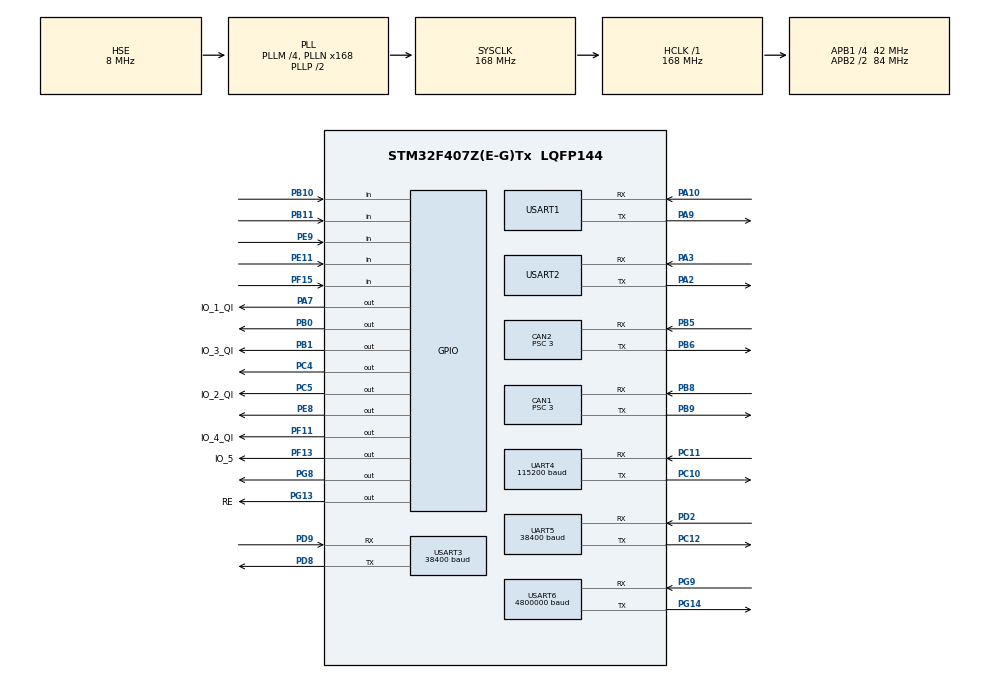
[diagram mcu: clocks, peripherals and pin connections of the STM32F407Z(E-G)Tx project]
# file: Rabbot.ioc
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CAN1.BS1=CAN_BS1_6TQ
CAN1.BS2=CAN_BS2_7TQ
CAN1.CalculateBaudRate=1000000
CAN1.CalculateTimeBit=1000
CAN1.CalculateTimeQuantum=71.42857142857143
CAN1.Mode=CAN_MODE_NORMAL
CAN1.Prescaler=3
CAN2.BS1=CAN_BS1_6TQ
CAN2.BS2=CAN_BS2_7TQ
CAN2.CalculateBaudRate=1000000
CAN2.CalculateTimeBit=1000
CAN2.CalculateTimeQuantum=71.42857142857143
CAN2.Prescaler=3
Dma.Request0=USART2_RX
Dma.Request1=USART2_TX
Dma.Request10=UART4_TX
Dma.Request11=UART5_TX
Dma.Request2=USART1_RX
Dma.Request3=USART1_TX
Dma.Request4=UART4_RX
Dma.Request5=USART3_RX
Dma.Request6=USART6_RX
Dma.Request7=UART5_RX
Dma.Request8=USART6_TX
Dma.Request9=USART3_TX
Dma.UART4_RX.4.Direction=DMA_PERIPH_TO_MEMORY
Dma.UART4_RX.4.FIFOMode=DMA_FIFOMODE_DISABLE
Dma.UART4_RX.4.Instance=DMA1_Stream2
Dma.UART4_RX.4.MemDataAlignment=DMA_MDATAALIGN_BYTE
Dma.UART4_RX.4.MemInc=DMA_MINC_ENABLE
Dma.UART4_RX.4.Mode=DMA_NORMAL
Dma.UART4_RX.4.PeriphDataAlignment=DMA_PDATAALIGN_BYTE
Dma.UART4_RX.4.PeriphInc=DMA_PINC_DISABLE
Dma.UART4_RX.4.Priority=DMA_PRIORITY_LOW
Dma.UART4_TX.10.Direction=DMA_MEMORY_TO_PERIPH
Dma.UART4_TX.10.FIFOMode=DMA_FIFOMODE_DISABLE
Dma.UART4_TX.10.Instance=DMA1_Stream4
Dma.UART4_TX.10.MemDataAlignment=DMA_MDATAALIGN_BYTE
Dma.UART4_TX.10.MemInc=DMA_MINC_ENABLE
Dma.UART4_TX.10.Mode=DMA_NORMAL
Dma.UART4_TX.10.PeriphDataAlignment=DMA_PDATAALIGN_BYTE
Dma.UART4_TX.10.PeriphInc=DMA_PINC_DISABLE
Dma.UART4_TX.10.Priority=DMA_PRIORITY_LOW
Dma.UART5_RX.7.Direction=DMA_PERIPH_TO_MEMORY
Dma.UART5_RX.7.FIFOMode=DMA_FIFOMODE_DISABLE
Dma.UART5_RX.7.Instance=DMA1_Stream0
Dma.UART5_RX.7.MemDataAlignment=DMA_MDATAALIGN_BYTE
Dma.UART5_RX.7.MemInc=DMA_MINC_ENABLE
Dma.UART5_RX.7.Mode=DMA_NORMAL
Dma.UART5_RX.7.PeriphDataAlignment=DMA_PDATAALIGN_BYTE
Dma.UART5_RX.7.PeriphInc=DMA_PINC_DISABLE
Dma.UART5_RX.7.Priority=DMA_PRIORITY_LOW
Dma.UART5_TX.11.Direction=DMA_MEMORY_TO_PERIPH
Dma.UART5_TX.11.FIFOMode=DMA_FIFOMODE_DISABLE
Dma.UART5_TX.11.Instance=DMA1_Stream7
Dma.UART5_TX.11.MemDataAlignment=DMA_MDATAALIGN_BYTE
Dma.UART5_TX.11.MemInc=DMA_MINC_ENABLE
Dma.UART5_TX.11.Mode=DMA_NORMAL
Dma.UART5_TX.11.PeriphDataAlignment=DMA_PDATAALIGN_BYTE
Dma.UART5_TX.11.PeriphInc=DMA_PINC_DISABLE
Dma.UART5_TX.11.Priority=DMA_PRIORITY_LOW
Dma.USART1_RX.2.Direction=DMA_PERIPH_TO_MEMORY
Dma.USART1_RX.2.FIFOMode=DMA_FIFOMODE_DISABLE
Dma.USART1_RX.2.Instance=DMA2_Stream2
Dma.USART1_RX.2.MemDataAlignment=DMA_MDATAALIGN_BYTE
Dma.USART1_RX.2.MemInc=DMA_MINC_ENABLE
Dma.USART1_RX.2.Mode=DMA_NORMAL
Dma.USART1_RX.2.PeriphDataAlignment=DMA_PDATAALIGN_BYTE
Dma.USART1_RX.2.PeriphInc=DMA_PINC_DISABLE
Dma.USART1_RX.2.Priority=DMA_PRIORITY_LOW
Dma.USART1_TX.3.Direction=DMA_MEMORY_TO_PERIPH
Dma.USART1_TX.3.FIFOMode=DMA_FIFOMODE_DISABLE
Dma.USART1_TX.3.Instance=DMA2_Stream7
Dma.USART1_TX.3.MemDataAlignment=DMA_MDATAALIGN_BYTE
Dma.USART1_TX.3.MemInc=DMA_MINC_ENABLE
Dma.USART1_TX.3.Mode=DMA_NORMAL
Dma.USART1_TX.3.PeriphDataAlignment=DMA_PDATAALIGN_BYTE
Dma.USART1_TX.3.PeriphInc=DMA_PINC_DISABLE
Dma.USART1_TX.3.Priority=DMA_PRIORITY_LOW
Dma.USART2_RX.0.Direction=DMA_PERIPH_TO_MEMORY
Dma.USART2_RX.0.FIFOMode=DMA_FIFOMODE_DISABLE
Dma.USART2_RX.0.Instance=DMA1_Stream5
Dma.USART2_RX.0.MemDataAlignment=DMA_MDATAALIGN_BYTE
Dma.USART2_RX.0.MemInc=DMA_MINC_ENABLE
Dma.USART2_RX.0.Mode=DMA_NORMAL
Dma.USART2_RX.0.PeriphDataAlignment=DMA_PDATAALIGN_BYTE
Dma.USART2_RX.0.PeriphInc=DMA_PINC_DISABLE
Dma.USART2_RX.0.Priority=DMA_PRIORITY_LOW
Dma.USART2_TX.1.Direction=DMA_MEMORY_TO_PERIPH
Dma.USART2_TX.1.FIFOMode=DMA_FIFOMODE_DISABLE
Dma.USART2_TX.1.Instance=DMA1_Stream6
Dma.USART2_TX.1.MemDataAlignment=DMA_MDATAALIGN_BYTE
Dma.USART2_TX.1.MemInc=DMA_MINC_ENABLE
Dma.USART2_TX.1.Mode=DMA_NORMAL
Dma.USART2_TX.1.PeriphDataAlignment=DMA_PDATAALIGN_BYTE
Dma.USART2_TX.1.PeriphInc=DMA_PINC_DISABLE
Dma.USART2_TX.1.Priority=DMA_PRIORITY_LOW
Dma.USART3_RX.5.Direction=DMA_PERIPH_TO_MEMORY
Dma.USART3_RX.5.FIFOMode=DMA_FIFOMODE_DISABLE
Dma.USART3_RX.5.Instance=DMA1_Stream1
Dma.USART3_RX.5.MemDataAlignment=DMA_MDATAALIGN_BYTE
Dma.USART3_RX.5.MemInc=DMA_MINC_ENABLE
Dma.USART3_RX.5.Mode=DMA_NORMAL
Dma.USART3_RX.5.PeriphDataAlignment=DMA_PDATAALIGN_BYTE
Dma.USART3_RX.5.PeriphInc=DMA_PINC_DISABLE
Dma.USART3_RX.5.Priority=DMA_PRIORITY_LOW
Dma.USART3_TX.9.Direction=DMA_MEMORY_TO_PERIPH
Dma.USART3_TX.9.FIFOMode=DMA_FIFOMODE_DISABLE
Dma.USART3_TX.9.Instance=DMA1_Stream3
Dma.USART3_TX.9.MemDataAlignment=DMA_MDATAALIGN_BYTE
Dma.USART3_TX.9.MemInc=DMA_MINC_ENABLE
Dma.USART3_TX.9.Mode=DMA_NORMAL
Dma.USART3_TX.9.PeriphDataAlignment=DMA_PDATAALIGN_BYTE
Dma.USART3_TX.9.PeriphInc=DMA_PINC_DISABLE
Dma.USART3_TX.9.Priority=DMA_PRIORITY_LOW
Dma.USART6_RX.6.Direction=DMA_PERIPH_TO_MEMORY
Dma.USART6_RX.6.FIFOMode=DMA_FIFOMODE_DISABLE
Dma.USART6_RX.6.Instance=DMA2_Stream1
Dma.USART6_RX.6.MemDataAlignment=DMA_MDATAALIGN_BYTE
Dma.USART6_RX.6.MemInc=DMA_MINC_ENABLE
Dma.USART6_RX.6.Mode=DMA_NORMAL
Dma.USART6_RX.6.PeriphDataAlignment=DMA_PDATAALIGN_BYTE
Dma.USART6_RX.6.PeriphInc=DMA_PINC_DISABLE
Dma.USART6_RX.6.Priority=DMA_PRIORITY_LOW
Dma.USART6_TX.8.Direction=DMA_MEMORY_TO_PERIPH
Dma.USART6_TX.8.FIFOMode=DMA_FIFOMODE_DISABLE
Dma.USART6_TX.8.Instance=DMA2_Stream6
Dma.USART6_TX.8.MemDataAlignment=DMA_MDATAALIGN_BYTE
Dma.USART6_TX.8.MemInc=DMA_MINC_ENABLE
Dma.USART6_TX.8.Mode=DMA_NORMAL
Dma.USART6_TX.8.PeriphDataAlignment=DMA_PDATAALIGN_BYTE
Dma.USART6_TX.8.PeriphInc=DMA_PINC_DISABLE
Dma.USART6_TX.8.Priority=DMA_PRIORITY_LOW
FREERTOS.BinarySemaphores01=myBinarySem01,Dynamic,NULL
FREERTOS.Tasks01=defaultTask,-3,256,StartDefaultTask,Default,NULL,Dynamic,NULL,NULL;wait_state,-3,256,Wait_State,Default,NULL,Dynamic,NULL,NULL;motion_state,-3,256,Motion_State,Default,NULL,Dynamic,NULL,NULL;zero_state,2,256,Zero_State,Default,NULL,Dynamic,NULL,NULL;motor_control,-3,256,Motor_Control,Default,NULL,Dynamic,NULL,NULL
FREERTOS.configUSE_COUNTING_SEMAPHORES=0
Mcu.Family=STM32F4
Mcu.Name=STM32F407Z(E-G)Tx
Mcu.Package=LQFP144
NVIC.CAN1_RX0_IRQn=true\:5\:0\:false\:false\:true\:true\:true\:true\:true
NVIC.CAN1_RX1_IRQn=true\:5\:0\:false\:false\:true\:true\:true\:true\:true
NVIC.CAN2_RX0_IRQn=true\:5\:0\:false\:false\:true\:true\:true\:true\:true
NVIC.CAN2_RX1_IRQn=true\:5\:0\:false\:false\:true\:true\:true\:true\:true
NVIC.DMA1_Stream0_IRQn=true\:5\:0\:false\:false\:true\:true\:false\:true\:true
NVIC.DMA1_Stream1_IRQn=true\:5\:0\:false\:false\:true\:true\:false\:true\:true
NVIC.DMA1_Stream2_IRQn=true\:5\:0\:false\:false\:true\:true\:false\:true\:true
NVIC.DMA1_Stream3_IRQn=true\:5\:0\:false\:false\:true\:true\:false\:true\:true
NVIC.DMA1_Stream4_IRQn=true\:5\:0\:false\:false\:true\:true\:false\:true\:true
NVIC.DMA1_Stream5_IRQn=true\:5\:0\:false\:false\:true\:true\:false\:true\:true
NVIC.DMA1_Stream6_IRQn=true\:5\:0\:false\:false\:true\:true\:false\:true\:true
NVIC.DMA1_Stream7_IRQn=true\:5\:0\:false\:false\:true\:true\:false\:true\:true
NVIC.DMA2_Stream1_IRQn=true\:5\:0\:false\:false\:true\:true\:false\:true\:true
NVIC.DMA2_Stream2_IRQn=true\:5\:0\:false\:false\:true\:true\:false\:true\:true
NVIC.DMA2_Stream6_IRQn=true\:5\:0\:false\:false\:true\:true\:false\:true\:true
NVIC.DMA2_Stream7_IRQn=true\:5\:0\:false\:false\:true\:true\:false\:true\:true
NVIC.PriorityGroup=NVIC_PRIORITYGROUP_4
NVIC.TIM2_IRQn=true\:5\:0\:false\:false\:true\:true\:true\:true\:true
NVIC.TIM3_IRQn=true\:15\:0\:false\:false\:true\:false\:false\:true\:true
NVIC.TIM4_IRQn=true\:5\:0\:false\:false\:true\:true\:true\:true\:true
NVIC.TimeBase=TIM3_IRQn
NVIC.TimeBaseIP=TIM3
NVIC.UART4_IRQn=true\:5\:0\:false\:false\:true\:true\:true\:true\:true
NVIC.UART5_IRQn=true\:5\:0\:false\:false\:true\:true\:true\:true\:true
NVIC.USART1_IRQn=true\:5\:0\:false\:false\:true\:true\:true\:true\:true
NVIC.USART2_IRQn=true\:5\:0\:false\:false\:true\:true\:true\:true\:true
NVIC.USART3_IRQn=true\:5\:0\:false\:false\:true\:true\:true\:true\:true
NVIC.USART6_IRQn=true\:5\:0\:false\:false\:true\:true\:true\:true\:true
PA10.Mode=Asynchronous
PA10.Signal=USART1_RX
PA13.Mode=Serial_Wire
PA13.Signal=SYS_JTMS-SWDIO
PA14.Mode=Serial_Wire
PA14.Signal=SYS_JTCK-SWCLK
PA2.Mode=Asynchronous
PA2.Signal=USART2_TX
PA3.Mode=Asynchronous
PA3.Signal=USART2_RX
PA7.GPIO_Label=IO_1_QI
PA7.GPIO_PuPd=GPIO_PULLUP
PA7.GPIO_Speed=GPIO_SPEED_FREQ_LOW
PA7.Signal=GPIO_Output
PA9.Mode=Asynchronous
PA9.Signal=USART1_TX
PB0.GPIO_PuPd=GPIO_PULLUP
PB0.GPIO_Speed=GPIO_SPEED_FREQ_VERY_HIGH
PB0.Signal=GPIO_Output
PB1.GPIO_Label=IO_3_QI
PB1.GPIO_PuPd=GPIO_PULLUP
PB1.Signal=GPIO_Output
PB10.GPIO_PuPd=GPIO_PULLUP
PB10.Signal=GPIO_Input
PB11.GPIO_PuPd=GPIO_PULLUP
PB11.Signal=GPIO_Input
PB5.Mode=CAN_Activate
PB5.Signal=CAN2_RX
PB6.Mode=CAN_Activate
PB6.Signal=CAN2_TX
PB8.Mode=CAN_Activate
PB8.Signal=CAN1_RX
PB9.Mode=CAN_Activate
PB9.Signal=CAN1_TX
PC10.Mode=Asynchronous
PC10.Signal=UART4_TX
PC11.Mode=Asynchronous
PC11.Signal=UART4_RX
PC12.Mode=Asynchronous
PC12.Signal=UART5_TX
PC4.GPIO_PuPd=GPIO_PULLUP
PC4.GPIO_Speed=GPIO_SPEED_FREQ_VERY_HIGH
PC4.Signal=GPIO_Output
PC5.GPIO_Label=IO_2_QI
PC5.GPIO_PuPd=GPIO_PULLUP
PC5.Signal=GPIO_Output
PD2.Mode=Asynchronous
PD2.Signal=UART5_RX
PD8.Mode=Asynchronous
PD8.Signal=USART3_TX
PD9.Mode=Asynchronous
PD9.Signal=USART3_RX
PE11.GPIO_PuPd=GPIO_PULLUP
PE11.Signal=GPIO_Input
PE8.GPIO_PuPd=GPIO_PULLUP
PE8.GPIO_Speed=GPIO_SPEED_FREQ_VERY_HIGH
PE8.Signal=GPIO_Output
PE9.GPIO_PuPd=GPIO_PULLUP
PE9.Signal=GPIO_Input
PF11.GPIO_Label=IO_4_QI
PF11.GPIO_PuPd=GPIO_PULLUP
PF11.Signal=GPIO_Output
PF13.GPIO_Label=IO_5
PF13.GPIO_PuPd=GPIO_PULLUP
PF13.Signal=GPIO_Output
PF15.GPIO_PuPd=GPIO_PULLUP
PF15.Signal=GPIO_Input
PG13.GPIO_Label=RE
PG13.Signal=GPIO_Output
PG14.Mode=Asynchronous
PG14.Signal=USART6_TX
PG8.GPIO_PuPd=GPIO_PULLUP
PG8.GPIO_Speed=GPIO_SPEED_FREQ_VERY_HIGH
PG8.Signal=GPIO_Output
PG9.Mode=Asynchronous
PG9.Signal=USART6_RX
PH0-OSC_IN.Mode=HSE-External-Oscillator
PH0-OSC_IN.Signal=RCC_OSC_IN
PH1-OSC_OUT.Mode=HSE-External-Oscillator
PH1-OSC_OUT.Signal=RCC_OSC_OUT
ProjectManager.HeapSize=0x200
ProjectManager.StackSize=0x400
ProjectManager.TargetToolchain=MDK-ARM V5.32
RCC.48MHZClocksFreq_Value=84000000
RCC.AHBFreq_Value=168000000
RCC.APB1CLKDivider=RCC_HCLK_DIV4
RCC.APB1Freq_Value=42000000
RCC.APB1TimFreq_Value=84000000
RCC.APB2CLKDivider=RCC_HCLK_DIV2
RCC.APB2Freq_Value=84000000
RCC.APB2TimFreq_Value=168000000
RCC.CortexFreq_Value=168000000
RCC.HCLKFreq_Value=168000000
RCC.HSE_VALUE=8000000
RCC.HSI_VALUE=16000000
RCC.LSE_VALUE=32768
RCC.PLLM=4
RCC.PLLN=168
RCC.PLLSourceVirtual=RCC_PLLSOURCE_HSE
RCC.SYSCLKFreq_VALUE=168000000
RCC.SYSCLKSource=RCC_SYSCLKSOURCE_PLLCLK
RCC.VCOOutputFreq_Value=336000000
TIM2.Period=2000-1
TIM2.Prescaler=84-1
TIM4.Period=1000-1
TIM4.Prescaler=84-1
UART4.BaudRate=115200
UART4.Parity=PARITY_NONE
UART4.VirtualMode=Asynchronous
UART4.WordLength=WORDLENGTH_8B
UART5.BaudRate=38400
UART5.VirtualMode=Asynchronous
USART1.VirtualMode=VM_ASYNC
USART2.VirtualMode=VM_ASYNC
USART3.BaudRate=38400
USART3.Parity=PARITY_NONE
USART3.VirtualMode=VM_ASYNC
USART3.WordLength=WORDLENGTH_8B
USART6.BaudRate=4800000
USART6.VirtualMode=VM_ASYNC
VP_FREERTOS_VS_CMSIS_V1.Mode=CMSIS_V1
VP_SYS_VS_tim3.Mode=TIM3
VP_TIM2_VS_ClockSourceINT.Mode=Internal
VP_TIM4_VS_ClockSourceINT.Mode=Internal
board=custom

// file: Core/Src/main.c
/* USER CODE BEGIN Header */
/**
  ******************************************************************************
  * @file           : main.c
  * @brief          : Main program body
  ******************************************************************************
  * @attention
  *
  * Copyright (c) 2023 STMicroelectronics.
  * All rights reserved.
  *
  * This software is licensed under terms that can be found in the LICENSE file
  * in the root directory of this software component.
  * If no LICENSE file comes with this software, it is provided AS-IS.
  *
  ******************************************************************************
  */
/* USER CODE END Header */
#include "main.h"
#include "cmsis_os.h"
#include "can.h"
#include "dma.h"
#include "tim.h"
#include "usart.h"
#include "gpio.h"

/* USER CODE BEGIN Includes */
#include "M3508.h"
#include "handkey.h"
#include "motion_control.h"
#include "A1_motor.h"
#include "my_uart.h"
#include "auto_route.h"
#include "yuntai.h"
#include "FreeRTOS.h"
#include "task.h"
/* USER CODE END Includes */

/* USER CODE BEGIN PD */
#define PI 3.1415926f
#define RADIN_TO_REG 57.296f
/* USER CODE END PD */

void SystemClock_Config(void);
void MX_FREERTOS_Init(void);
/* USER CODE BEGIN PFP */
extern M3508x_STA M3508[8];//创建结构体实例
extern M3508x_STA M3508_2[8];
float Rpm_set=0;
extern MOTOR_recv motor_recv[2];
A1_data a1_data[2];
int c_flag=3;

extern uint8_t Gyro_RX_Data[30];

extern Action_data Action_Data;
extern float speed_level;
extern float kx_av,ky_av;
extern float radar_x,radar_y;
extern float a1_pos[2];
extern float spped_set_a1;
extern int child_block;
/* USER CODE END PFP */

int main(void)
{
//8.13514 -0.1382 5 16400
//7.29757261 -0.351111144 6 16100
//6.65611 -0.1893 8 16500
//9.4684 -0.1758 2 15150
//5.37451675 -0.19946 10 15150
//0.075206	0.18194
  /* MCU Configuration--------------------------------------------------------*/

  /* Reset of all peripherals, Initializes the Flash interface and the Systick. */
  HAL_Init();

  /* Configure the system clock */
  SystemClock_Config();

  /* Initialize all configured peripherals */
  MX_GPIO_Init();
  MX_DMA_Init();
  MX_CAN1_Init();
  MX_CAN2_Init();
  MX_TIM2_Init();
  MX_USART1_UART_Init();
  MX_USART2_UART_Init();
  MX_UART4_Init();
  MX_USART3_UART_Init();
  MX_USART6_UART_Init();
  MX_UART5_Init();
  MX_TIM4_Init();
  /* USER CODE BEGIN 2 */
		//Usart5_Start();
    a1_init();         // a1电机参数初始化
    yuntai_init(); // 初始化云台pid
    Usart6_Start();    // 启动a1电机接收
    c_flag = 1;
    HAL_TIM_Base_Start_IT(&htim2);//0.5515
    HAL_Delay(20);//1397542
    HAL_TIM_Base_Start_IT(&htim4);
    HAL_Delay(20);
    Gyro_Receive_Start();
    Handkey_Receive_Start();
    MaPan_Receive_Start();
    Radar_Receive_Start();
		unsigned char cmd[5] = {0XA5, 0X5A, 0X04, 0X00, 0XFB};
    HAL_GPIO_WritePin(GPIOB,GPIO_PIN_1,GPIO_PIN_SET);
		HAL_GPIO_WritePin(GPIOC,GPIO_PIN_5,GPIO_PIN_SET);
    HAL_Delay(20);
		HAL_UART_Transmit_DMA(&huart3, cmd, 5);
    a1_set_mode(YAW_MOTOR_ID, 0);                        // 使能电机，0
    a1_set_mode(PITCH_MOTOR_ID, 0);

    HAL_Delay(10);
    Usart3_Start(); // 启动视觉接收

    Can1_Configure();
    Can2_Configure();
    HAL_Delay(100);
    keep_pid_init();
    PID_Path_Init();
    M3510_PID_MotorInit(M3508);
    M3510_PID_MotorInit(M3508_2);

    __HAL_UART_ENABLE_IT(&huart5,UART_IT_IDLE);

  /* USER CODE END 2 */

  /* Call init function for freertos objects (in freertos.c) */
  MX_FREERTOS_Init();

  /* Start scheduler */
  osKernelStart();
  /* We should never get here as control is now taken by the scheduler */
  /* Infinite loop */
    while (1)
    {

    }
}

void SystemClock_Config(void)
{
  RCC_OscInitTypeDef RCC_OscInitStruct = {0};
  RCC_ClkInitTypeDef RCC_ClkInitStruct = {0};

  /** Configure the main internal regulator output voltage
  */
  __HAL_RCC_PWR_CLK_ENABLE();
  __HAL_PWR_VOLTAGESCALING_CONFIG(PWR_REGULATOR_VOLTAGE_SCALE1);

  /** Initializes the RCC Oscillators according to the specified parameters
  * in the RCC_OscInitTypeDef structure.
  */
  RCC_OscInitStruct.OscillatorType = RCC_OSCILLATORTYPE_HSE;
  RCC_OscInitStruct.HSEState = RCC_HSE_ON;
  RCC_OscInitStruct.PLL.PLLState = RCC_PLL_ON;
  RCC_OscInitStruct.PLL.PLLSource = RCC_PLLSOURCE_HSE;
  RCC_OscInitStruct.PLL.PLLM = 4;
  RCC_OscInitStruct.PLL.PLLN = 168;
  RCC_OscInitStruct.PLL.PLLP = RCC_PLLP_DIV2;
  RCC_OscInitStruct.PLL.PLLQ = 4;
  if (HAL_RCC_OscConfig(&RCC_OscInitStruct) != HAL_OK)
  {
    Error_Handler();
  }

  /** Initializes the CPU, AHB and APB buses clocks
  */
  RCC_ClkInitStruct.ClockType = RCC_CLOCKTYPE_HCLK|RCC_CLOCKTYPE_SYSCLK
                              |RCC_CLOCKTYPE_PCLK1|RCC_CLOCKTYPE_PCLK2;
  RCC_ClkInitStruct.SYSCLKSource = RCC_SYSCLKSOURCE_PLLCLK;
  RCC_ClkInitStruct.AHBCLKDivider = RCC_SYSCLK_DIV1;
  RCC_ClkInitStruct.APB1CLKDivider = RCC_HCLK_DIV4;
  RCC_ClkInitStruct.APB2CLKDivider = RCC_HCLK_DIV2;

  if (HAL_RCC_ClockConfig(&RCC_ClkInitStruct, FLASH_LATENCY_5) != HAL_OK)
  {
    Error_Handler();
  }
}

void HAL_TIM_PeriodElapsedCallback(TIM_HandleTypeDef *htim)
{
  /* USER CODE BEGIN Callback 0 */
	uint32_t status_value;
	status_value = taskENTER_CRITICAL_FROM_ISR();
  /* USER CODE END Callback 0 */
  if (htim->Instance == TIM3) {
    HAL_IncTick();
  }
  /* USER CODE BEGIN Callback 1 */
    if (htim == &htim2) {

				m3508_motion_control(&M3508[0]);
				m3508_motion_control(&M3508[5]);

        CAN1_SetMotor_0_3(M3508);
        CAN1_SetMotor_4_7(M3508);
				if(!child_block){
        yuntai_control();
				}
				else
				{
//					a1_set_mode(0,0);
//					a1_set_mode(1,0);
				}
        __HAL_TIM_CLEAR_FLAG(&htim2, TIM_IT_UPDATE);
    }
    if (htim == &htim4) {
        if (c_flag == 1)
        {
            c_flag = 0;
            A1_Motor_Send_Data_yuntai(a1_data[1].w, a1_data[1].pos, a1_data[1].kp, a1_data[1].kw, a1_data[1].t, a1_data[1].id, a1_data[1].mode); // now+28.5
            a1_data[1].w_now = motor_recv[1].motor_recv_data.Mdata.W / 128.f / 9.0f;
            a1_data[1].angle = RADIN_TO_REG / 9.0f * motor_recv[1].motor_recv_data.Mdata.Pos * 2 * PI / 16384.0f;
        }
        else if (c_flag == 0)
        {
            c_flag = 1;
            A1_Motor_Send_Data_yuntai(a1_data[0].w, a1_data[0].pos, a1_data[0].kp, a1_data[0].kw, a1_data[0].t, a1_data[0].id, a1_data[0].mode); // now-8
            a1_data[0].w_now = motor_recv[0].motor_recv_data.Mdata.W / 128.f / 9.0f;
            a1_data[0].angle = RADIN_TO_REG / 9.0f * motor_recv[0].motor_recv_data.Mdata.Pos * 2 * PI / 16384.0f;
        }
//2ms发送一次，改 htim4.Init.Period = 2000-1;
        __HAL_TIM_CLEAR_FLAG(&htim4, TIM_IT_UPDATE);
    }
		taskEXIT_CRITICAL_FROM_ISR(status_value);
  /* USER CODE END Callback 1 */
}

void Error_Handler(void)
{
    __disable_irq();
    while (1)
    {
    }
}

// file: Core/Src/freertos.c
/* USER CODE BEGIN Header */
/**
  ******************************************************************************
  * File Name          : freertos.c
  * Description        : Code for freertos applications
  ******************************************************************************
  * @attention
  *
  * Copyright (c) 2023 STMicroelectronics.
  * All rights reserved.
  *
  * This software is licensed under terms that can be found in the LICENSE file
  * in the root directory of this software component.
  * If no LICENSE file comes with this software, it is provided AS-IS.
  *
  ******************************************************************************
  */
/* USER CODE END Header */

#include "FreeRTOS.h"
#include "task.h"
#include "main.h"
#include "cmsis_os.h"

/* USER CODE BEGIN Includes */
#include "M3508.h"
#include "motion_control.h"
#include "handkey.h"
#include "math.h"
#include "A1_motor.h"
#include "my_uart.h"
#include "auto_route.h"
#include "ANO_TC.h"
#include "yuntai.h"
//2023-04-12 01:06
/* USER CODE END Includes */

/* USER CODE BEGIN PTD */
//int m_state = 0;
#define PI 3.1415926f
#define RADIN_TO_REG 57.296f
#define AUTO_STATE 3
#define MANUAL_STATE 2
#define CHANGE_TO_RADIAN (0.01745329251994f)
int test = 0;//实战调试
int flag_test=0;//单电机调�?
float x_set,y_set,w_set,h0_set,h1_set;
float vw_0;
float vx_set,vy_set,vw_set;
float pos_set=0;
float speed_set=10;
int test_flag_pro=0;
float speed_set_w;
extern RC_Ctl_t CtrlData;
int (*hook)(int x, int y);
int GPIO_ID_STATE[4];
extern M3508x_STA M3508[8];
float RPM=0;
float pos_7[5]= {0};
float pos_5[5]= {0};
extern A1_data a1_data[2];
float spped_set_a1=5000;
int a1_flag=0;
int State_flag=0;
extern MOTOR_recv motor_recv[2];
int32_t test_pos = 0;
extern float Rpm_set;
float x,y,z;
extern int16_t handkey_direction[4];
extern float speed_level;
int motion_flag=0;
float c_x,c_y,c_w;
float data2send[5];
extern LUJING_STU Lujing_Status;
extern float data_yaw;
extern Action_data Action_Data;
extern float mis_error;
extern PID_Struct Cir_AdjustPID;
extern coordinate_Struct World_Coordinate_system_TargetVel;
extern int reset_flag;
int shoot_manual=0;
float a1_pos[2];
int wtf=0;
float yuntai_x=0;

float yuntai_y=0;

extern LUJING_STU Lujing_Status;
int jiahuan_state=1;
int tuihuan_state=0;
int yahuan_state=1;
extern PID_Struct keep_x;
extern PID_Struct keep_y;
extern PID_Struct keep_w;
/*-----------��̨����-----------*/
uint8_t flag_yuntai = 0;

float end_pos_1,end_pos_2 = 0;
uint8_t send_flag = 0;
uint8_t vision_send_data = 0; // -2 -1 0 1 2

float vx_last,vy_last;
float vx_pre,vy_pre;
float speed_up_rate=20.f;
float speed_down_rate=20.f;
float radar_flag=0;
extern float radar_start_x,radar_start_y;
extern float radar_last_x,radar_last_y;
extern float mapan_start_x,mapan_start_y;
extern float kx,ky;
extern float radar_sum,kx_av,ky_av;
extern float radar_x,radar_y;
extern float vx_0,vy_0;
extern VisionData vision_data;
int GPIO_state;
int fangxiang;
extern PID_TypeDef Keep_X_PID;     // ����x����λ��
extern PID_TypeDef Keep_Y_PID;     // ����y����λ��
extern PID_TypeDef Keep_W_PID;     // ���ֽǶ�

float x_break_test = 10.0f;
float angle_break_test = 0.5f;
int shoot_flag=0;
static void motion_3(void);
static void motion_2(void);
static void motion_1(void);
static void motion_4(void);
static void motion_5(void);
static void motion_6(void);
float a1_pos_set[2];
uint8_t Screen[32];
int chuan_i;
int cd_change=0;
extern int page;
int weidong_setx,weidong_sety;
extern float Angle_Z_last;
int out_flag;
float init_pos;
float init_pos_p;
int path_flag;
int huan_list;
int child_block=0;
int shoot_pre_cp=0;
int motion_reset=0;
int motion_set=0;
/* USER CODE END PTD */

/* USER CODE BEGIN PD */
/* 注册消息 */
enum {
    OPER_TYPE_ADD = 0,   /*  */
    OPER_TYPE_MINUS,     /*  */
    OPER_TYPE_MULTI,     /*  */
    OPER_TYPE_DEV,	     /*  */
    OPER_TYPE_MAX
};

typedef struct handle_cb {
    int type;
    int (*handle)(int a, int b);   // HOOK_Task
} HANDLE_CB;
union
{
    uint8_t abcd[28];
    float zhuan2u8[7];
} Screen_Send;
/*
注册钩子，这里显式地把消息类型和钩子函数对应关系体现出来了，
handle_cb里面的type可以不要的，注意维护好注册消息表�?
每个枚举值先后顺序和下面钩子函数表中的先后顺序一致，能对应上
就行�?
*/
HANDLE_CB g_handle [] = {
//	{ OPER_TYPE_ADD, add },
//	{ OPER_TYPE_MINUS, minus },
//	{ OPER_TYPE_MULTI, multi },
    { OPER_TYPE_DEV, NULL}
};
/* USER CODE END PD */

osThreadId defaultTaskHandle;
osThreadId wait_stateHandle;
osThreadId motion_stateHandle;
osThreadId zero_stateHandle;
osThreadId motor_controlHandle;
osSemaphoreId myBinarySem01Handle;

/* USER CODE BEGIN FunctionPrototypes */
extern M3508x_STA M3508[8];
/* USER CODE END FunctionPrototypes */

void StartDefaultTask(void const * argument);
void Wait_State(void const * argument);
void Motion_State(void const * argument);
void Zero_State(void const * argument);
void Motor_Control(void const * argument);

void MX_FREERTOS_Init(void); /* (MISRA C 2004 rule 8.1) */

/* GetIdleTaskMemory prototype (linked to static allocation support) */
void vApplicationGetIdleTaskMemory( StaticTask_t **ppxIdleTaskTCBBuffer, StackType_t **ppxIdleTaskStackBuffer, uint32_t *pulIdleTaskStackSize );

/* USER CODE BEGIN GET_IDLE_TASK_MEMORY */
static StaticTask_t xIdleTaskTCBBuffer;
static StackType_t xIdleStack[configMINIMAL_STACK_SIZE];

void vApplicationGetIdleTaskMemory( StaticTask_t **ppxIdleTaskTCBBuffer, StackType_t **ppxIdleTaskStackBuffer, uint32_t *pulIdleTaskStackSize )
{
    *ppxIdleTaskTCBBuffer = &xIdleTaskTCBBuffer;
    *ppxIdleTaskStackBuffer = &xIdleStack[0];
    *pulIdleTaskStackSize = configMINIMAL_STACK_SIZE;
    /* place for user code */
}
/* USER CODE END GET_IDLE_TASK_MEMORY */

void MX_FREERTOS_Init(void) {

  /* Create the semaphores(s) */
  /* definition and creation of myBinarySem01 */
  osSemaphoreDef(myBinarySem01);
  myBinarySem01Handle = osSemaphoreCreate(osSemaphore(myBinarySem01), 1);

  /* Create the thread(s) */
  /* definition and creation of defaultTask */
  osThreadDef(defaultTask, StartDefaultTask, osPriorityIdle, 0, 256);
  defaultTaskHandle = osThreadCreate(osThread(defaultTask), NULL);

  /* definition and creation of wait_state */
  osThreadDef(wait_state, Wait_State, osPriorityIdle, 0, 256);
  wait_stateHandle = osThreadCreate(osThread(wait_state), NULL);

  /* definition and creation of motion_state */
  osThreadDef(motion_state, Motion_State, osPriorityIdle, 0, 256);
  motion_stateHandle = osThreadCreate(osThread(motion_state), NULL);

  /* definition and creation of zero_state */
  osThreadDef(zero_state, Zero_State, osPriorityHigh, 0, 256);
  zero_stateHandle = osThreadCreate(osThread(zero_state), NULL);

  /* definition and creation of motor_control */
  osThreadDef(motor_control, Motor_Control, osPriorityIdle, 0, 256);
  motor_controlHandle = osThreadCreate(osThread(motor_control), NULL);

}

void StartDefaultTask(void const * argument)
{
    for(;;)
    {
        osDelay(1);
    }
}

/* USER CODE BEGIN Header_Wait_State */
/**

* @brief Function implementing the wait_state thread.
* @param argument: x_set，y_set，vx_set，vy_set，CtrlData.rc.ch1~3(分别为前后�?�左右�?�自�?)
* @retval None
*/
float arfa_o,arfa_i;
int motion_list=0;
extern int ceju_data;
float a1_speed_boost;
int speed_select=0;
/* USER CODE END Header_Wait_State */
void Wait_State(void const * argument)
{
  /* USER CODE BEGIN Wait_State */
    /* Infinite loop */
    for(;;)
    {
				arfa_o=sinf(arfa_i);
        if(reset_flag^wtf)
        {
            wtf=!wtf;
            zero_reset();
        }
        data2send[0] = ceju_data;
        data2send[1] = handkey_direction[1];
        data2send[2] = handkey_direction[0];
        data2send[3] = handkey_direction[2];
        data2send[4] = handkey_direction[3];
        Usart_Send_To_Show32(&huart5,data2send);
				Screen[0]=0xAA;
				Screen[1]=0xAA;
				if(page==1){
					if(!weidong_setx&&motion_list<4)
				Screen_Send.zhuan2u8[0]=66666;
					else if(!weidong_setx)Screen_Send.zhuan2u8[0]=77777;
					if(!weidong_sety&&motion_list<4)
				Screen_Send.zhuan2u8[1]=66666;
					else if(!weidong_sety)Screen_Send.zhuan2u8[1]=77777;
				Screen_Send.zhuan2u8[2]=a1_pos[0];
				Screen_Send.zhuan2u8[3]=a1_pos[1];
				Screen_Send.zhuan2u8[4]=ceju_data;
				Screen_Send.zhuan2u8[5]=spped_set_a1;
						Screen_Send.zhuan2u8[6]=child_block;

				}
				else if(page==2){
				Screen_Send.zhuan2u8[0]=Action_Data.x;
				Screen_Send.zhuan2u8[1]=Action_Data.y;
				Screen_Send.zhuan2u8[2]=Action_Data.angle_Z;
				Screen_Send.zhuan2u8[3]=motion_list;
				Screen_Send.zhuan2u8[4]=huan_list;
				Screen_Send.zhuan2u8[5]=spped_set_a1;
					Screen_Send.zhuan2u8[6]=child_block;
				}
				else if(page==3){
				Screen_Send.zhuan2u8[0]=1;
				Screen_Send.zhuan2u8[1]=2;
				Screen_Send.zhuan2u8[2]=3;
				Screen_Send.zhuan2u8[3]=4;
				Screen_Send.zhuan2u8[4]=5;
				Screen_Send.zhuan2u8[5]=6;
				//Screen_Send.zhuan2u8[6]=Action_Data.y;
				}
				else{
				Screen_Send.zhuan2u8[0]=1;
				Screen_Send.zhuan2u8[1]=2;
				Screen_Send.zhuan2u8[2]=3;
				Screen_Send.zhuan2u8[3]=4;
				Screen_Send.zhuan2u8[4]=5;
				Screen_Send.zhuan2u8[5]=6;
				//Screen_Send.zhuan2u8[6]=Action_Data.y;
				}
				for(chuan_i=0; chuan_i<28; chuan_i++)
				{
						Screen[chuan_i+2]=Screen_Send.abcd[chuan_i];
				}
				if(speed_select)a1_speed_boost=10;
				else a1_speed_boost=50;
        HAL_UART_Transmit(&huart2,Screen, 32, 0xFFF);
				if(shoot_manual){
					if(handkey_direction[2]>30)spped_set_a1+=a1_speed_boost;
					else if(handkey_direction[2]<-30)spped_set_a1-=a1_speed_boost;
					osDelay(25);
				}

        osDelay(5);
    }
  /* USER CODE END Wait_State */
}

void Motion_State(void const * argument)
{
  /* USER CODE BEGIN Motion_State */
    /* Infinite loop */
    for(;;)
    {
			if(!child_block){
        if(State_flag==MANUAL_STATE) {
            x_set = handkey_direction[3];
            y_set =-handkey_direction[2];
						w_set = handkey_direction[1]*3.f;
            speed_set=1*5000;
            speed_set_w=50.0f;
            speed_up_rate=30.0f;
            vx_pre=x_set/sqrt(y_set*y_set+x_set*x_set+1)*speed_set*fabs(x_set)/1000.f;
            vy_pre=y_set/sqrt(y_set*y_set+x_set*x_set+1)*speed_set*fabs(y_set)/1000.f;
            if(vx_pre-vx_last>=speed_up_rate)
            {
                vx_0+=speed_up_rate;
            }
            else if(vx_pre-vx_last<=-speed_up_rate)
            {
                vx_0-=speed_up_rate;
            }
            else vx_0=vx_0;

            if(vy_pre-vy_last>=speed_up_rate)
            {
                vy_0+=speed_up_rate;
            }
            else if(vy_pre-vy_last<=-speed_up_rate)
            {
                vy_0-=speed_up_rate;
            }
            else vy_0=vy_0;

						if (vw_0 < w_set)
						{
							vw_0 += speed_set_w;
							if(vw_0 > w_set)
								vw_0 = w_set;
						}
						else
						{
							vw_0 -= speed_set_w;
							if(vw_0 < w_set)
								vw_0 = w_set;
						}
            vx_last=vx_0;
            vy_last=vy_0;
						if(!weidong_setx&&motion_list<4){Action_Data.zero_x=-Action_Data.x_0;
							Action_Data.zero_w=-Action_Data.w_0;
						}
						if(!weidong_sety&&motion_list<4){Action_Data.zero_y=-Action_Data.y_0;
							Action_Data.zero_w=-Action_Data.w_0;
						}
						else if(!weidong_sety&&motion_list>4){Action_Data.zero_x=-Action_Data.x_0;
							Action_Data.zero_y=-Action_Data.y_0;
							Action_Data.zero_w=-Action_Data.w_0-90.f;}
						if(!shoot_manual){
            vx_set=vy_0*sinf(-Action_Data.angle_Z*CHANGE_TO_RADIAN)+vx_0*cosf(-Action_Data.angle_Z*CHANGE_TO_RADIAN);
            vy_set=vy_0*cosf(-Action_Data.angle_Z*CHANGE_TO_RADIAN)-vx_0*sinf(-Action_Data.angle_Z*CHANGE_TO_RADIAN);
							vx_set=vx_0;
							vy_set=vy_0;
							vw_set = vw_0;

							motion_resolve(-vx_set,vy_set,vw_set);
						}
						Lujing_Status.CoordinateSystem.Target_Position.x=Action_Data.x;
						Lujing_Status.CoordinateSystem.Target_Position.y=Action_Data.y;
						Lujing_Status.CoordinateSystem.Target_Position.w=Action_Data.angle_Z;
        }

        else if(State_flag==AUTO_STATE) {

            if(motion_flag==1)
            {
							if((Action_Data.x!=0||Action_Data.y!=0)&&Action_Data.x<5&&Action_Data.y<5){
								circle(0,0,-95,1534.8,-10.4,0,10000,10000,0.2,0.2);
								circle(-95,1534.8,-1286.5,3830,-37.4,10000,10000,10000,0.1,0.2);
								circle(-1286.5,3830,-1903.3,4265,-17.35,10000,10000,10000,0.1,0.2);
								circle(-1903.3,4265,-3584.5,4846.3,-14.9,10000,5000,10000,0.1,0.5);
								circle(-3584.5,4846.3,-5177.5,4170.8,-73.6,5000,2000,5000,0.1,0.4);
								line(-5177.5,2470.8,0,5000,3000,0.12,0.15,5000,6000,20);
								line(-5177.5,1970.8,0,3000,0,0.1,0.2,10000,5000,20);
								jiahuan_state=0;
								motion_list++;
								vx_0=0;
								vy_0=0;
								vw_set=0;
							}
							else child_block=1;
							motion_flag = 0;
            }
            else if(motion_flag==2)
            {
							if(Screen_Send.zhuan2u8[0]==66666&&Screen_Send.zhuan2u8[1]==66666){

								line(1500,200,0,0,2000,0.1,0.2,1000,5000,20);
								circle(Action_Data.x,Action_Data.y,2000,-1335,60,2000,0,5000,0.1,0.2);
								//HAL_GPIO_WritePin(GPIOC,GPIO_PIN_5,GPIO_PIN_SET);
								yahuan_state=1;
								jiahuan_state=1;
								motion_list++;
								vx_set=0;
								vy_set=0;
								vw_set=0;

							}
							else child_block=1;
							motion_flag = 0;

            }
            else if(motion_flag==3)
            {

							catch_down(-106500);
							motion_list++;
							motion_flag = 0;
						}
						else if(motion_flag==4)
						{
							position_set(&M3508[0],M3508[0].dAngle_Sum,10);
							line(1665,Action_Data.y,0,0,0,0.12,0.15,1000,1000,20);
							motion_list++;
							motion_flag = 0;

            }
            else if(motion_flag==5)
            {
							//HAL_GPIO_WritePin(GPIOC,GPIO_PIN_5,GPIO_PIN_RESET);
							yahuan_state=0;
							osDelay(500);
							line(2000,-1335,0,0,0,0.12,0.15,1000,1000,20);
							catch_up(106500);
							motion_list++;
							motion_flag = 0;
						}
						else if(motion_flag==6)
						{
							position_set(&M3508[0],M3508[0].dAngle_Sum,10);
							//HAL_GPIO_WritePin(GPIOC,GPIO_PIN_5,GPIO_PIN_SET);
							yahuan_state=1;
							//jiahuan_state=0;
							osDelay(500);
								jiahuan_state=1;
							osDelay(300);
								catch_down(-76500);
								motion_flag=0;
								motion_list++;
						}
						else if(motion_flag==7){
								position_set(&M3508[0],M3508[0].dAngle_Sum,10);
								jiahuan_state=0;
								osDelay(300);
								jiahuan_state=1;
								osDelay(300);
								jiahuan_state=0;
								osDelay(300);
								jiahuan_state=1;
								osDelay(300);
								jiahuan_state=0;
								motion_set=0;
							motion_list++;
							motion_flag=0;
            }//bie ji

						else if(motion_flag==8)
            {
							line(2000,-4000,-90,0,2000,0.1,0.2,2000,5000,20);
							line(200,-4300,-90,2000,0,0.1,0.2,1000,5000,20);
							motion_list++;
							motion_flag=0;
            }
							else if(motion_flag==9)
            {
							if(Screen_Send.zhuan2u8[1]==77777){
							line(-50,Action_Data.y-(1170-ceju_data),-90,0,0,0.2,0.2,1000,2000,20);

							motion_list++;
							}
							else child_block=1;
							motion_flag=0;

						}
						else if(motion_flag==10)
						{
							catch_down(-30000);
							motion_list++;
							motion_flag=0;
						}
						else if(motion_flag==11)//zhe li zhuyi meiyou xianxiang ,kandao jiangdao zuixiamian jiu an
						{
							position_set(&M3508[0],M3508[0].dAngle_Sum,10);
							motion_list++;
							motion_flag=0;
						}
						else if(motion_flag==12)
            {
							//HAL_GPIO_WritePin(GPIOB,GPIO_PIN_1,GPIO_PIN_RESET);
							if(huan_list==0&&jiahuan_state==0){
								tuihuan_state=0;
								path_flag=1;

								yuntai_start_path(PITCH_MOTOR_ID, init_pos_p, 0.5);
								osDelay(500);
								yuntai_set_target_pitch(init_pos_p);
								yuntai_start_path(YAW_MOTOR_ID, init_pos, 1);
								osDelay(1000);
								yuntai_set_target_yaw(init_pos);
								path_flag=0;
								shoot_pre_cp=0;

								//HAL_GPIO_WritePin(GPIOB,GPIO_PIN_1,GPIO_PIN_SET);
								jiahuan_state=1;
								osDelay(300);
								catch_up(106500);
											motion_list++;

							}
									else child_block=1;
								motion_flag=0;
						}
							else if (motion_flag==13){

								position_set(&M3508[0],M3508[0].dAngle_Sum,10);
								//HAL_GPIO_WritePin(GPIOC,GPIO_PIN_5,GPIO_PIN_RESET);
								yahuan_state=1;
								osDelay(500);
								catch_down(-106500);
								motion_list++;
							motion_flag=0;
							}
							else if(motion_flag==14)
							{
								position_set(&M3508[0],M3508[0].dAngle_Sum,10);
								jiahuan_state=0;
								osDelay(300);
								jiahuan_state=1;
								osDelay(300);
								jiahuan_state=0;
								osDelay(300);
								jiahuan_state=1;
								osDelay(300);
								jiahuan_state=0;
								motion_flag=0;
								motion_list++;
							}

//							if(motion_set){
//								if(motion_flag==0){
//								jiahuan_state=1;
//								catch_down(-76500);
//								osDelay(500);
//								position_set(&M3508[0],M3508[0].dAngle_Sum,10);
//								jiahuan_state=0;
//								osDelay(300);
//								jiahuan_state=1;
//								osDelay(300);
//								jiahuan_state=0;
//								osDelay(300);
//								jiahuan_state=1;
//								osDelay(300);
//								jiahuan_state=0;
//								motion_set=0;
//								}
//							}
//							if(motion_reset){
//								if(motion_flag==0)
//								{
//									motion_list=0;
//									Action_Data.zero_x=-Action_Data.x_0;
//									Action_Data.zero_y=-Action_Data.y_0;
//									Action_Data.zero_w=-Action_Data.w_0;
//									motion_reset=0;
//								}
//							}

						if(!weidong_setx&&motion_list<4){Action_Data.zero_x=-Action_Data.x_0;
							Action_Data.zero_w=-Action_Data.w_0;
						}
						if(!weidong_sety&&motion_list<4){Action_Data.zero_y=-Action_Data.y_0;
							Action_Data.zero_w=-Action_Data.w_0;
						}
						else if(!weidong_sety&&motion_list>4){Action_Data.zero_x=-Action_Data.x_0;
							Action_Data.zero_w=-Action_Data.w_0-90.f;}
//						if(shoot_flag){
//							VESC_Set_HardBreak_Current(1,10000,&hcan2);
//							VESC_Set_HardBreak_Current(2,10000,&hcan2);
//							VESC_Set_HardBreak_Current(3,10000,&hcan2);
//							VESC_Set_HardBreak_Current(4,10000,&hcan2);
//						}
//							else
            Keep_Position(Lujing_Status.CoordinateSystem.Target_Position.x,Lujing_Status.CoordinateSystem.Target_Position.y,Lujing_Status.CoordinateSystem.Target_Position.w );
						}
        }

			else Keep_Position(Action_Data.x,Action_Data.y,Action_Data.angle_Z);

 //motion_resolve(-vx_set,vy_set,vw_set);
        osDelay(2);
    }
  /* USER CODE END Motion_State */
}

/* USER CODE BEGIN Header_Zero_State */
float a1_speed[2];
int pos_block[2];
/**
* @brief Function implementing the zero_state thread.
* @param argument: Not used
* @retval None
*/

extern uint8_t rsv_flag;
int weidong_flag;

extern int number_input;
int t1,t2,t3,t4;
int number_last;
extern int shoot_select;
/* USER CODE END Header_Zero_State */
void Zero_State(void const * argument)
{
  /* USER CODE BEGIN Zero_State */
    /* Infinite loop */
    for(;;)
    {
							if(shoot_flag)
				{
					VESC_Set_RPM(1,spped_set_a1,&hcan1);
					VESC_Set_RPM(2,spped_set_a1,&hcan1);
				}
				a1_pos[0]=a1_get_position(PITCH_MOTOR_ID);
        a1_pos[1]=a1_get_position(YAW_MOTOR_ID);
				weidong_flag=HAL_GPIO_ReadPin(GPIOF,GPIO_PIN_15);
				weidong_setx=HAL_GPIO_ReadPin(GPIOE,GPIO_PIN_9);
				weidong_sety=HAL_GPIO_ReadPin(GPIOE,GPIO_PIN_11);
				HAL_GPIO_WritePin(GPIOC,GPIO_PIN_5,yahuan_state);
				HAL_GPIO_WritePin(GPIOB,GPIO_PIN_1,jiahuan_state);
				HAL_GPIO_WritePin(GPIOF,GPIO_PIN_13,tuihuan_state);
				if(shoot_select&&!child_block)
				{
							switch(number_input)
					{
						case 1:
							test_flag_pro=1;break;
						case 2:
							a1_flag=13;break;
						case 4:
							a1_flag=14;break;
						case 5:
							a1_flag=15;break;
						case 6:
							a1_flag=6;break;
						case 7:
							a1_flag=7;break;
						case 8:
							a1_flag=8;break;
						case 10:
							a1_flag=10;break;
						case 11:
							if(number_input!=number_last)speed_select=!speed_select;break;
						case 12:
							a1_flag=12;break;
						default:break;
					}
				}
				else if(!child_block)
				{
				switch(number_input)
				{
					case 1:
						jiahuan_state=1;break;
					case 2:
						tuihuan_state=1;break;
					case 3:
						yahuan_state=1;break;
					case 4:
						jiahuan_state=0;break;
					case 5:
						tuihuan_state=0;break;
					case 6:
						yahuan_state=0;break;

					default:break;

				}
			}
				number_last=number_input;
				if(!path_flag){
				if(shoot_manual)
				{

						yuntai_manual(0);

						if(handkey_direction[1]>100)a1_speed[0]=0.3;
					else if(handkey_direction[1]<-100)a1_speed[0]=-0.3;
						else a1_speed[0]=0;
						if(handkey_direction[0]>100)a1_speed[1]=1.5;
					else if(handkey_direction[0]<-100)a1_speed[1]=-1.5;
						else a1_speed[1]=0;
						if(a1_speed[0]==0){

							if(pos_block[0]==0){
							pos_block[0]=1;
								a1_data[0].mode=10;
							yuntai_set_target_pitch(a1_get_position(PITCH_MOTOR_ID));
							a1_set_kp_kw(0,0.2,0.5);}
						}
						else pos_block[0]=0;
						if(a1_speed[1]==0){
							if(pos_block[1]==0){
							pos_block[1]=1;
							a1_data[1].mode=10;
							a1_set_kp_kw(1,0.1,0.5);

							yuntai_set_target_yaw(a1_get_position(YAW_MOTOR_ID));
							}

						}
						else pos_block[1]=0;
					}

				else if(!path_flag)mode_change();
				}
				osDelay(1);
    }
  /* USER CODE END Zero_State */
}

/* USER CODE BEGIN Header_Motor_Control */
/**
* @brief Function implementing the motor_control thread.
* @param argument: Not used
* @retval None
*/

float m3508_5_speed_set=0;
float lift_up_step=19;
int middle_right=0;
int radar_flag_test;
extern float Send2A1;
int zhuzi_id;
float init_pos;

/* USER CODE END Header_Motor_Control */
void Motor_Control(void const * argument)
{
  /* USER CODE BEGIN Motor_Control */
    /* Infinite loop */
    for(;;)
    {

        if(test_flag_pro==1) // ̧���ͻ���λ
				{
						if(lift_move(-2000.f,HAL_GPIO_ReadPin(GPIOF,GPIO_PIN_15))==0)
						{test_flag_pro=0;lift_step(8.1);huan_list=0;tuihuan_state=0;
						}
				}
				if(test_flag_pro==2)
				{
					lift_step(lift_up_step);
					test_flag_pro=0;
				}
				if(test_flag_pro==3)
				{
					jiahuan_state=1;
					yahuan_state=0;
					//HAL_GPIO_WritePin(GPIOC,GPIO_PIN_5,GPIO_PIN_RESET);
					osDelay(500);
					catch_down(-106500);

					test_flag_pro=0;
				}

				if(test_flag_pro==5)//shoot
				{
					if(huan_list<10){
					lift_step(16.12); // ��̨�ͻ�̧���߶�16
					osDelay(500);
					tuihuan_state=0;
					osDelay(600);
					tuihuan_state=1;
					huan_list++;
					test_flag_pro=0;}
					else child_block=1;
				}
				if(test_flag_pro==6)
				{
					lift_step(8.1); // ��̨�ͻ���ʼ̧������
					//HAL_GPIO_WritePin(GPIOF,GPIO_PIN_13,GPIO_PIN_SET);
					test_flag_pro=0;
				}
				if(test_flag_pro==7)
				{

					jiahuan_state=1;
					yahuan_state=0;
					osDelay(500);
					catch_up(106500);
					test_flag_pro=0;
				}

        if(a1_flag==1)
        {
					if(init_pos==0&&init_pos_p==0){
					a1_data[1].mode=10;
					path_flag=1;
					init_pos=a1_get_position(YAW_MOTOR_ID);
					init_pos_p=a1_get_position(PITCH_MOTOR_ID);
				yuntai_start_path(YAW_MOTOR_ID, init_pos-0.285f, 0.5);
					osDelay(500);
				yuntai_set_target_yaw(init_pos-0.285f); // ��¼�����ʼֵ����ֹ����ϵ綶��
				yuntai_set_target_pitch(init_pos_p);
				a1_data[0].mode=10;
				a1_data[1].mode=10;
					path_flag=0;}//6.85463524 -0.128811777
					a1_flag=0;//0.165030763 0.257623553
        }//8.32529736 -0.154378116
				else if(a1_flag==2)//9.64673615 -0.144748122
        {
					if(motion_list<1)child_block=1;
					else{
					if(fabs(a1_get_position(PITCH_MOTOR_ID)-init_pos_p)<0.2&&fabs(a1_get_position(YAW_MOTOR_ID)-init_pos)<0.5){
					a1_data[1].mode=10;
					path_flag=1;
				yuntai_start_path(YAW_MOTOR_ID, init_pos, 0.5);
					osDelay(500);
				yuntai_set_target_yaw(init_pos); // ��¼�����ʼֵ����ֹ����ϵ綶��
				yuntai_set_target_pitch(init_pos_p);
				a1_data[0].mode=10;
				a1_data[1].mode=10;
					path_flag=0;}
				}
					a1_flag=0;
        }
				 else if(a1_flag==3)
        {
					//if(!jiahuan_state){
				yuntai_set_target_yaw(a1_get_position(YAW_MOTOR_ID)); // ��¼�����ʼֵ����ֹ����ϵ綶��
				yuntai_set_target_pitch(a1_get_position(PITCH_MOTOR_ID));
				a1_data[0].mode=10;
				a1_data[1].mode=10;
					path_flag=0;
					//a1_flag=0;
        }
				else if(a1_flag==6)
				{
					if(!jiahuan_state&&shoot_pre_cp){
				yuntai_shoot_select(7.22236,-0.51);
					spped_set_a1=15800;}
					else  child_block=1;
					a1_flag=0;
				}
				else if(a1_flag==7)
				{
					if(!jiahuan_state&&shoot_pre_cp){
				yuntai_shoot_select(5.444,-0.48166);
					spped_set_a1=11150;}
					//7.18708277 -0.129621372  8 16500
					else child_block=1;
					//0.548909426 0.239258364
					a1_flag=0;
				}
				//15900 7.81955 0.3202 6
				else if(a1_flag==8)
				{
					if(!jiahuan_state&&shoot_pre_cp){
				yuntai_shoot_select(6.58091,-0.37123);
					spped_set_a1=17200;}
					else child_block=1;
					a1_flag=0;
				}
				else if(a1_flag==10)
				{
					if(!jiahuan_state&&shoot_pre_cp){
				yuntai_shoot_select(5.29930,-0.3814);
					spped_set_a1=15150;}
					else child_block=1;
					a1_flag=0;
				}

				else if(a1_flag==12)
				{
					if(!jiahuan_state&&!tuihuan_state){
					path_flag=1;
					yuntai_start_path(YAW_MOTOR_ID, init_pos+7, 1);
					osDelay(1000);
					yuntai_set_target_yaw(init_pos+7);
					yuntai_start_path(PITCH_MOTOR_ID, init_pos_p, 0.5);
					osDelay(500);
					yuntai_set_target_pitch(init_pos_p);
					path_flag=0;
					shoot_pre_cp=1;
					tuihuan_state=1;
					}
					else child_block=1;
					a1_flag=0;
				}
				else if(a1_flag==13)//2
				{
					if(!jiahuan_state&&shoot_pre_cp){
				yuntai_shoot_select(9.39319,-0.35774);
						spped_set_a1=15150;//15150
					}
					else child_block=1;
					a1_flag=0;
				}
				else if(a1_flag==14)//4
				{
					if(!jiahuan_state&&shoot_pre_cp){
				yuntai_shoot_select(8.95823,-0.51);
					spped_set_a1=9500;
					}
					else child_block=1;
					a1_flag=0;
				}
				else if(a1_flag==15)//5
				{
					if(!jiahuan_state&&shoot_pre_cp){
				yuntai_shoot_select(8.05993,-0.32014);
					spped_set_a1=16400;}
					else child_block=1;
					a1_flag=0;
				}

        osDelay(1);
    }
  /* USER CODE END Motor_Control */
}
